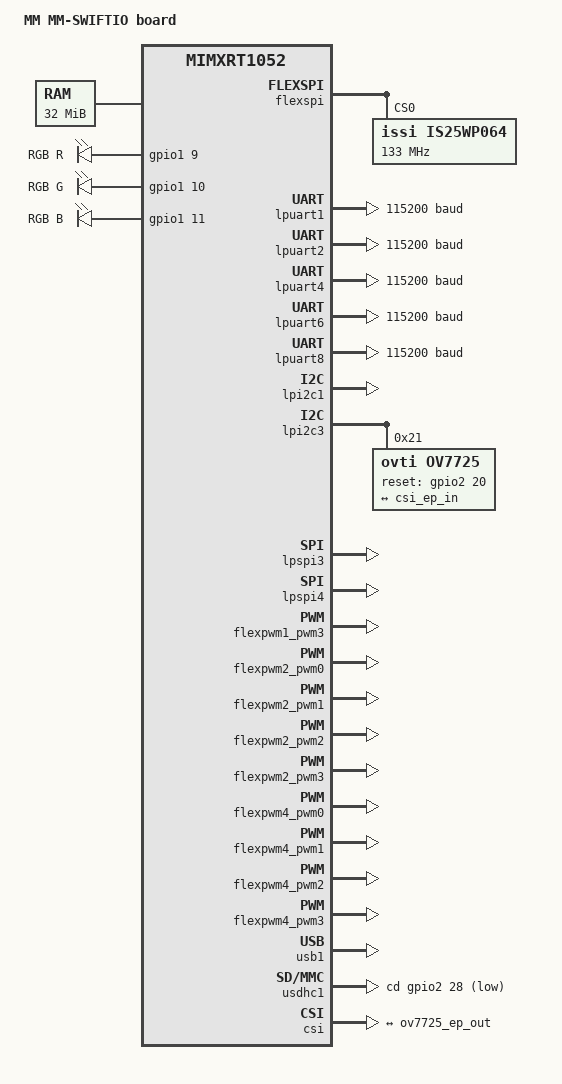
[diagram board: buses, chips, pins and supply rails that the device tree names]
/*
 * Copyright (c) 2019, MADMACHINE LIMITED
 *
 * SPDX-License-Identifier: Apache-2.0
 */

/dts-v1/;

#include <nxp/nxp_rt.dtsi>

/ {
	model = "MM MM-SWIFTIO board";
	compatible = "nxp,mimxrt1052";

	aliases {
		led0 = &green_led;
		led1 = &red_led;
		led2 = &blue_led;
	};

	chosen {
		zephyr,sram = &sdram0;
		zephyr,itcm = &itcm;
		zephyr,dtcm = &dtcm;
		zephyr,console = &lpuart1;
		zephyr,shell-uart = &lpuart1;
	};

	sdram0: memory@80000000 {
		/* Micron MT48LC16M16A2B4-6AIT:G */
		device_type = "memory";
		reg = <0x80000000 DT_SIZE_M(32)>;
	};

	leds {
		compatible = "gpio-leds";
		red_led: led_0 {
			gpios = <&gpio1 9 0>;
			label = "RGB R";
		};

		green_led: led_1 {
			gpios = <&gpio1 10 0>;
			label = "RGB G";
		};

		blue_led: led_2 {
			gpios = <&gpio1 11 0>;
			label = "RGB B";
		};
	};
};


&flexspi {
	reg = <0x402a8000 0x4000>, <0x60000000 DT_SIZE_M(8)>;
	is25wp064: is25wp064@0 {
		compatible = "issi,is25wp064", "jedec,spi-nor";
		size = <67108864>;
		label = "IS25WP064";
		reg = <0>;
		spi-max-frequency = <133000000>;
		status = "okay";
		jedec-id = [9d 70 17];
	};
};

&lpuart1 {
	status = "okay";
	current-speed = <115200>;
};

&lpuart2 {
	status = "okay";
	current-speed = <115200>;
};

&lpuart4 {
	status = "okay";
	current-speed = <115200>;
};

&lpuart6 {
	status = "okay";
	current-speed = <115200>;
};

&lpuart8 {
	status = "okay";
	current-speed = <115200>;
};

&lpi2c1 {
	status = "okay";
};

&lpi2c3 {
	status = "okay";

	ov7725@21 {
		compatible = "ovti,ov7725";
		reg = <0x21>;
		label = "OV7725";
		status = "okay";

		reset-gpios = <&gpio2 20 GPIO_ACTIVE_HIGH>;

		port {
			ov7725_ep_out: endpoint {
				remote-endpoint = <&csi_ep_in>;
			};
		};
	};
};

&lpspi3 {
	status = "okay";
	pcs-sck-delay = <50>;
	sck-pcs-delay = <50>;
	transfer-delay = <50>;
};

&lpspi4 {
	status = "okay";
	pcs-sck-delay = <50>;
	sck-pcs-delay = <50>;
	transfer-delay = <50>;
};

&flexpwm1_pwm3 {
	status = "okay";
};

&flexpwm2_pwm0 {
	status = "okay";
};

&flexpwm2_pwm1 {
	status = "okay";
};

&flexpwm2_pwm2 {
	status = "okay";
};

&flexpwm2_pwm3 {
	status = "okay";
};

&flexpwm4_pwm0 {
	status = "okay";
};

&flexpwm4_pwm1 {
	status = "okay";
};

&flexpwm4_pwm2 {
	status = "okay";
};

&flexpwm4_pwm3 {
	status = "okay";
};

&usb1 {
	status = "okay";
};

&usdhc1 {
	status = "okay";
	cd-gpios = <&gpio2 28 GPIO_ACTIVE_LOW>;
};

&csi {
	status = "okay";
	sensor-label = "OV7725";

	port {
		csi_ep_in: endpoint {
			remote-endpoint = <&ov7725_ep_out>;
		};
	};
};
